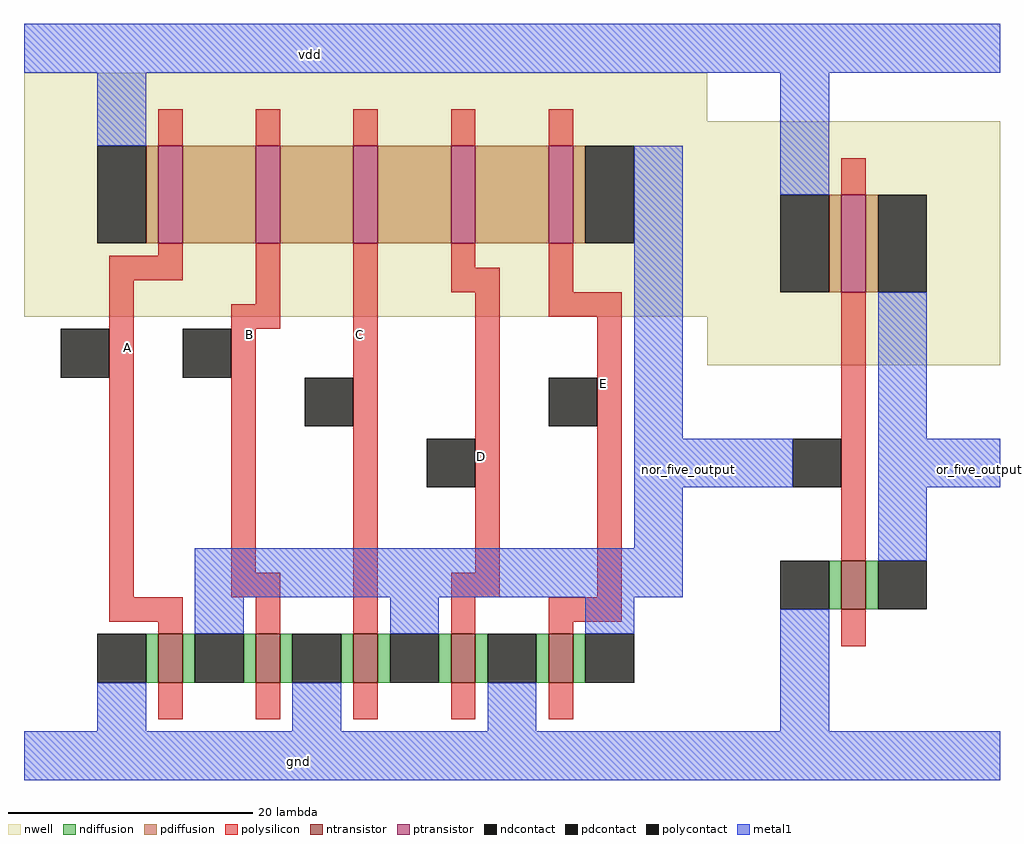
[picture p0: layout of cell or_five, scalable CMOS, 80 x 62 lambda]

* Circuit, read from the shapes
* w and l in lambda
.subckt or_five A B C D E gnd nor_five_output vdd
M1 nor_five_output A gnd VSUBS nfet w=4 l=2
M2 gnd B nor_five_output VSUBS nfet w=4 l=2
M3 nor_five_output C gnd VSUBS nfet w=4 l=2
M4 gnd D nor_five_output VSUBS nfet w=4 l=2
M5 nor_five_output E gnd VSUBS nfet w=4 l=2
M6 inverter_0/Inv_out nor_five_output gnd VSUBS nfet w=4 l=2
M7 n1 A vdd n2 pfet w=8 l=2
M8 n3 B n1 n2 pfet w=8 l=2
M9 n4 C n3 n2 pfet w=8 l=2
M10 n5 D n4 n2 pfet w=8 l=2
M11 nor_five_output E n5 n2 pfet w=8 l=2
M12 inverter_0/Inv_out nor_five_output vdd n2 pfet w=8 l=2
.ends

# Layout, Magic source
magic
tech scmos
<< nwell >>
rect 87 38 143 58
<< ntransistor >>
rect 98 8 100 12
rect 106 8 108 12
rect 114 8 116 12
rect 122 8 124 12
rect 130 8 132 12
<< ptransistor >>
rect 98 44 100 52
rect 106 44 108 52
rect 114 44 116 52
rect 122 44 124 52
rect 130 44 132 52
<< ndiffusion >>
rect 97 8 98 12
rect 100 8 101 12
rect 105 8 106 12
rect 108 8 109 12
rect 113 8 114 12
rect 116 8 117 12
rect 121 8 122 12
rect 124 8 125 12
rect 129 8 130 12
rect 132 8 133 12
<< pdiffusion >>
rect 97 44 98 52
rect 100 44 106 52
rect 108 44 114 52
rect 116 44 122 52
rect 124 44 130 52
rect 132 44 133 52
<< ndcontact >>
rect 93 8 97 12
rect 101 8 105 12
rect 109 8 113 12
rect 117 8 121 12
rect 125 8 129 12
rect 133 8 137 12
<< pdcontact >>
rect 93 44 97 52
rect 133 44 137 52
<< polysilicon >>
rect 98 52 100 55
rect 106 52 108 55
rect 114 52 116 55
rect 122 52 124 55
rect 130 52 132 55
rect 98 43 100 44
rect 94 41 100 43
rect 94 15 96 41
rect 106 39 108 44
rect 104 37 108 39
rect 104 17 106 37
rect 104 15 108 17
rect 94 13 100 15
rect 98 12 100 13
rect 106 12 108 15
rect 114 12 116 44
rect 122 42 124 44
rect 122 40 126 42
rect 124 17 126 40
rect 130 40 132 44
rect 130 38 136 40
rect 122 15 126 17
rect 134 15 136 38
rect 122 12 124 15
rect 130 13 136 15
rect 130 12 132 13
rect 98 5 100 8
rect 106 5 108 8
rect 114 5 116 8
rect 122 5 124 8
rect 130 5 132 8
<< polycontact >>
rect 90 33 94 37
rect 100 33 104 37
rect 110 29 114 33
rect 120 24 124 28
rect 130 29 134 33
<< metal1 >>
rect 87 58 143 62
rect 93 52 97 58
rect 137 28 141 52
rect 137 24 143 28
rect 137 19 141 24
rect 101 15 141 19
rect 101 12 105 15
rect 117 12 121 15
rect 133 12 137 15
rect 93 4 97 8
rect 109 4 113 8
rect 125 4 129 8
rect 87 0 143 4
use inverter  inverter_0
transform 1 0 143 0 1 34
box 0 -34 24 28
<< labels >>
rlabel metal1 110 59 111 60 5 vdd
rlabel metal1 109 1 110 2 1 gnd
rlabel polysilicon 95 35 96 36 1 A
rlabel polysilicon 105 36 106 37 1 B
rlabel polysilicon 114 36 115 37 1 C
rlabel polysilicon 124 26 125 27 1 D
rlabel polysilicon 134 32 135 33 1 E
rlabel metal1 141 25 142 26 7 nor_five_output
rlabel space 165 25 166 26 7 or_five_output
<< end >>

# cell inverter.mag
magic
tech scmos
<< nwell >>
rect 0 0 24 20
<< ntransistor >>
rect 11 -20 13 -16
<< ptransistor >>
rect 11 6 13 14
<< ndiffusion >>
rect 10 -20 11 -16
rect 13 -20 14 -16
<< pdiffusion >>
rect 10 6 11 14
rect 13 6 14 14
<< ndcontact >>
rect 6 -20 10 -16
rect 14 -20 18 -16
<< pdcontact >>
rect 6 6 10 14
rect 14 6 18 14
<< polysilicon >>
rect 11 14 13 17
rect 11 -16 13 6
rect 11 -23 13 -20
<< polycontact >>
rect 7 -10 11 -6
<< metal1 >>
rect 0 24 24 28
rect 6 14 10 24
rect 14 -6 18 6
rect 0 -10 7 -6
rect 14 -10 24 -6
rect 14 -16 18 -10
rect 6 -30 10 -20
rect 0 -34 24 -30
<< labels >>
rlabel metal1 3 -9 4 -8 3 INP
rlabel metal1 14 -31 15 -30 1 gnd
rlabel metal1 13 25 14 26 5 vdd
rlabel metal1 17 -9 18 -8 1 Inv_out
<< end >>
